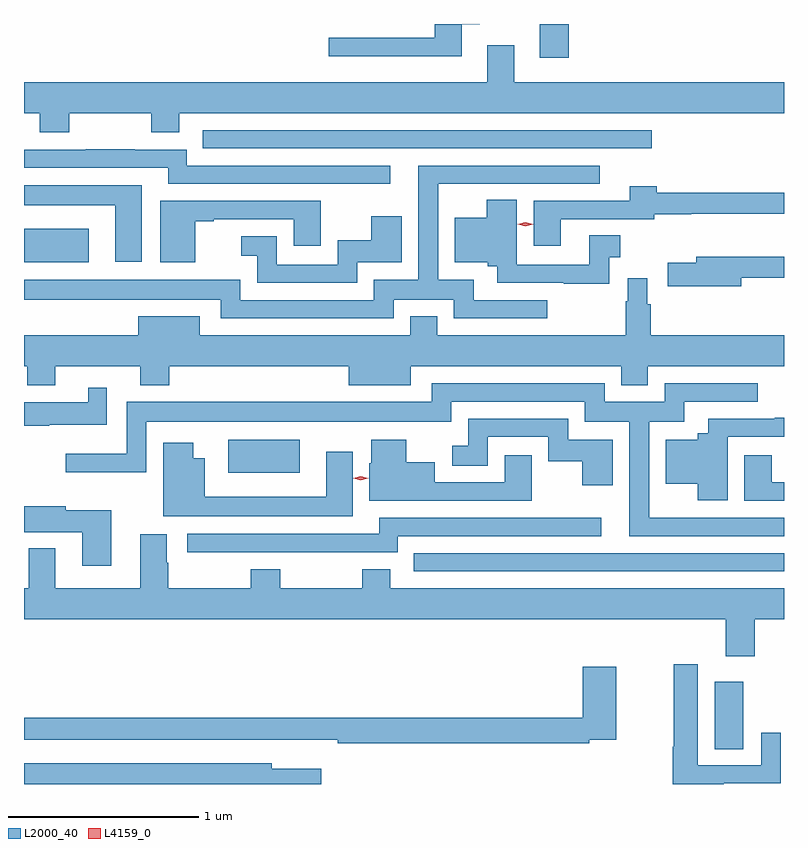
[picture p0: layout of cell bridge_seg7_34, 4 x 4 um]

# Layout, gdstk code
import gdstk
lib = gdstk.Library(unit=1e-6, precision=1e-09)
def R(c, l, rs):  # rectangles x0, y0, x1, y1
    for r in rs: c.add(gdstk.rectangle(r[:2], r[2:], *l))
def P(c, l, *ps):  # polygons
    for p in ps: c.add(gdstk.Polygon(p, *l))
L2000_40 = (2000, 40)
L4159_0 = (4159, 0)

bridge_seg7_34 = lib.new_cell('bridge_seg7_34')
R(bridge_seg7_34, L2000_40, [(998.528,1059.874,998.677,1060.228), (996.942,1060.809,998.892,1060.905), (995.966,1061.327,996.343,1061.503), (994.892,1062.437,995.233,1062.613), (995.832,1063.035,998.197,1063.131)])
P(bridge_seg7_34, L2000_40, [(997.76,1063.69),(997.511,1063.69),(997.511,1063.689),(997.607,1063.689),(997.607,1063.512),(997.76,1063.512)],
  [(997.195,1063.689),(997.291,1063.689),(997.291,1063.69),(997.055,1063.69),(997.055,1063.617),(996.495,1063.617),(996.495,1063.52),(997.195,1063.52)],
  [(995.13,1063.22),(995.563,1063.22),(995.563,1063.121),(995.71,1063.121),(995.71,1063.22),(998.892,1063.22),(998.892,1063.384),(997.471,1063.384),(997.471,1063.579),(997.331,1063.579),(997.331,1063.384),(994.892,1063.384),(994.892,1063.22),(994.975,1063.22),(994.975,1063.121),(995.13,1063.121)],
  [(996.82,1062.945),(995.748,1062.945),(995.748,1063.029),(995.474,1063.029),(995.474,1063.031),(995.218,1063.031),(995.218,1063.029),(994.892,1063.029),(994.892,1062.933),(995.651,1062.933),(995.651,1062.849),(996.55,1062.849),(996.55,1062.848),(996.82,1062.848)],
  [(996.838,1062.239),(997.154,1062.239),(997.154,1062.141),(997.645,1062.141),(997.645,1062.237),(997.258,1062.237),(997.258,1062.343),(997.072,1062.343),(997.072,1062.849),(997.921,1062.849),(997.921,1062.945),(996.968,1062.945),(996.968,1062.343),(996.734,1062.343),(996.734,1062.237),(996.031,1062.237),(996.031,1062.343),(994.892,1062.343),(994.892,1062.239),(995.927,1062.239),(995.927,1062.141),(996.838,1062.141)],
  [(995.512,1062.841),(994.892,1062.841),(994.892,1062.737),(995.372,1062.737),(995.372,1062.438),(995.512,1062.438)],
  [(997.717,1062.663),(998.209,1062.663),(998.209,1062.688),(998.405,1062.688),(998.405,1062.691),(998.892,1062.691),(998.892,1062.802),(998.222,1062.802),(998.222,1062.835),(998.081,1062.835),(998.081,1062.759),(997.574,1062.759),(997.574,1062.522),(997.717,1062.522)],
  [(997.972,1062.463),(998.029,1062.463),(998.029,1062.578),(997.868,1062.578),(997.868,1062.423),(997.486,1062.423),(997.486,1062.764),(997.328,1062.764),(997.328,1062.67),(997.16,1062.67),(997.16,1062.437),(997.332,1062.437),(997.332,1062.416),(997.382,1062.416),(997.382,1062.327),(997.732,1062.327),(997.732,1062.322),(997.972,1062.322)],
  [(995.794,1062.651),(995.89,1062.651),(995.89,1062.663),(996.311,1062.663),(996.311,1062.522),(996.454,1062.522),(996.454,1062.759),(995.609,1062.759),(995.609,1062.437),(995.794,1062.437)],
  [(996.646,1062.437),(996.88,1062.437),(996.88,1062.679),(996.719,1062.679),(996.719,1062.551),(996.542,1062.551),(996.542,1062.423),(996.223,1062.423),(996.223,1062.574),(996.036,1062.574),(996.036,1062.47),(996.119,1062.47),(996.119,1062.327),(996.646,1062.327)],
  [(998.668,1062.354),(998.892,1062.354),(998.892,1062.465),(998.429,1062.465),(998.429,1062.433),(998.28,1062.433),(998.28,1062.311),(998.668,1062.311)],
  [(995.056,1061.888),(995.504,1061.888),(995.504,1061.789),(995.657,1061.789),(995.657,1061.888),(996.602,1061.888),(996.602,1061.789),(996.928,1061.789),(996.928,1061.888),(998.036,1061.888),(998.036,1061.789),(998.176,1061.789),(998.176,1061.888),(998.892,1061.888),(998.892,1062.052),(998.191,1062.052),(998.191,1062.215),(998.173,1062.215),(998.173,1062.352),(998.069,1062.352),(998.069,1062.23),(998.059,1062.23),(998.059,1062.052),(997.066,1062.052),(997.066,1062.151),(996.926,1062.151),(996.926,1062.052),(995.818,1062.052),(995.818,1062.151),(995.492,1062.151),(995.492,1062.052),(994.892,1062.052),(994.892,1061.888),(994.909,1061.888),(994.909,1061.789),(995.056,1061.789)],
  [(998.892,1061.091),(998.182,1061.091),(998.182,1061.597),(998.368,1061.597),(998.368,1061.703),(998.755,1061.703),(998.755,1061.799),(998.264,1061.799),(998.264,1061.701),(997.948,1061.701),(997.948,1061.799),(997.037,1061.799),(997.037,1061.701),(995.432,1061.701),(995.432,1061.428),(995.112,1061.428),(995.112,1061.33),(995.536,1061.33),(995.536,1061.597),(997.141,1061.597),(997.141,1061.703),(997.844,1061.703),(997.844,1061.597),(998.078,1061.597),(998.078,1060.995),(998.892,1060.995)],
  [(995.024,1061.582),(995.328,1061.582),(995.328,1061.776),(995.231,1061.776),(995.231,1061.698),(994.892,1061.698),(994.892,1061.575),(995.024,1061.575)],
  [(998.596,1061.517),(998.892,1061.517),(998.892,1061.618),(998.842,1061.618),(998.842,1061.613),(998.492,1061.613),(998.492,1061.536),(998.438,1061.536),(998.438,1061.503),(998.27,1061.503),(998.27,1061.27),(998.438,1061.27),(998.438,1061.184),(998.596,1061.184)],
  [(997.99,1061.503),(997.756,1061.503),(997.756,1061.613),(997.229,1061.613),(997.229,1061.47),(997.146,1061.47),(997.146,1061.366),(997.333,1061.366),(997.333,1061.517),(997.652,1061.517),(997.652,1061.389),(997.829,1061.389),(997.829,1061.262),(997.99,1061.262)],
  [(996.95,1061.181),(997.564,1061.181),(997.564,1061.419),(997.421,1061.419),(997.421,1061.277),(997.054,1061.277),(997.054,1061.383),(996.904,1061.383),(996.904,1061.503),(996.719,1061.503),(996.719,1061.379),(996.71,1061.379),(996.71,1061.18),(996.95,1061.18)],
  [(996.622,1061.44),(996.482,1061.44),(996.482,1061.203),(995.842,1061.203),(995.842,1061.404),(995.782,1061.404),(995.782,1061.485),(995.624,1061.485),(995.624,1061.099),(996.622,1061.099)],
  [(998.892,1061.277),(998.827,1061.277),(998.827,1061.419),(998.684,1061.419),(998.684,1061.181),(998.892,1061.181)],
  [(995.35,1061.131),(995.112,1061.131),(995.112,1061.151),(994.892,1061.151),(994.892,1061.015),(995.198,1061.015),(995.198,1060.839),(995.35,1060.839)],
  [(995.996,1060.911),(996.328,1060.911),(996.328,1060.91),(996.584,1060.91),(996.584,1060.911),(996.858,1060.911),(996.858,1060.995),(997.93,1060.995),(997.93,1061.092),(997.66,1061.092),(997.66,1061.091),(996.761,1061.091),(996.761,1061.007),(995.751,1061.007),(995.751,1060.91),(995.996,1060.91)],
  [(998.737,1060.556),(998.892,1060.556),(998.892,1060.72),(996.82,1060.72),(996.82,1060.819),(996.673,1060.819),(996.673,1060.72),(996.24,1060.72),(996.24,1060.819),(996.085,1060.819),(996.085,1060.72),(995.652,1060.72),(995.652,1060.854),(995.644,1060.854),(995.644,1061.005),(995.504,1061.005),(995.504,1060.72),(995.056,1060.72),(995.056,1060.93),(994.916,1060.93),(994.916,1060.72),(994.892,1060.72),(994.892,1060.556),(998.585,1060.556),(998.585,1060.362),(998.737,1060.362)],
  [(998.575,1059.693),(998.875,1059.693),(998.875,1059.961),(998.771,1059.961),(998.771,1059.789),(998.437,1059.789),(998.437,1060.321),(998.311,1060.321),(998.311,1059.886),(998.306,1059.886),(998.306,1059.69),(998.575,1059.69)],
  [(997.868,1059.924),(998.01,1059.924),(998.01,1060.306),(997.832,1060.306),(997.832,1060.04),(994.892,1060.04),(994.892,1059.924),(996.292,1059.924),(996.292,1059.923),(996.544,1059.923),(996.544,1059.904),(997.868,1059.904)],
  [(996.457,1059.769),(996.196,1059.769),(996.196,1059.798),(994.892,1059.798),(994.892,1059.69),(996.457,1059.69)])
P(bridge_seg7_34, L4159_0, [(997.531,1062.626),(997.491,1062.636),(997.49,1062.636),(997.491,1062.637),(997.531,1062.646),(997.572,1062.637),(997.572,1062.636),(997.572,1062.636)],
  [(996.665,1061.29),(996.625,1061.3),(996.624,1061.3),(996.625,1061.3),(996.665,1061.31),(996.705,1061.3),(996.705,1061.3),(996.705,1061.299)])

lib.write_gds('bridge_seg7_34.gds')
